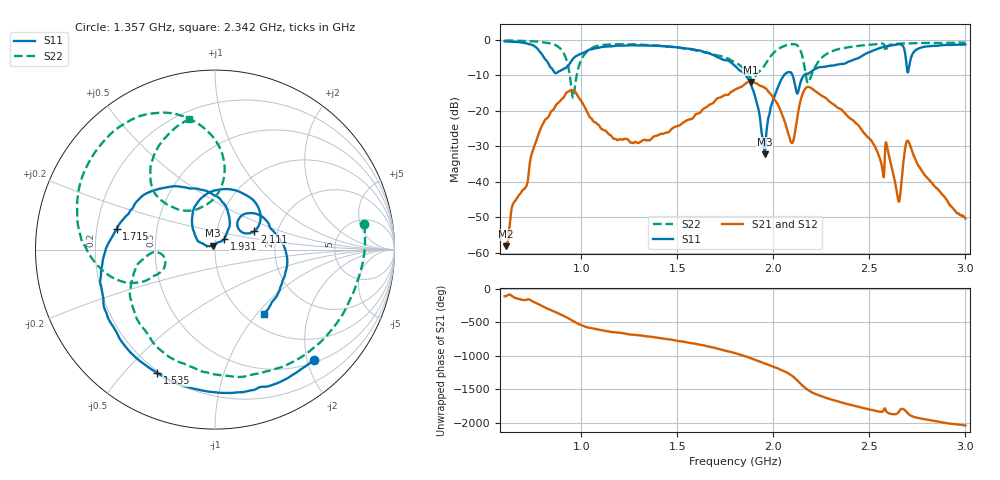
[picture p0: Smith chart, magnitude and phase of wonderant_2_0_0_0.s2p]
#  HZ  S  RI  R  50.00
! Rohde & Schwarz ZVB8 2Ports - Version 2.81 - 1145.1010k08 SN: 100113
! Date: 2016-05-17 22:36:41
! Measurements: S11 S21 S12 S22
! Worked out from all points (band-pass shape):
!   1000 points, 600 MHz to 3 GHz, reference 50 ohm
!   highest |S21| = -11.86 dB at 1.883 GHz (marker M1); lowest = -58.1 dB at 604.8 MHz (marker M2)
!   |S21| within 3 dB of the highest: 1.776 GHz to 1.978 GHz (202.3 MHz wide, 10.8 % of centre); 2.155 GHz to 2.229 GHz (74.26 MHz wide, 3.39 % of centre)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
!   lowest |S11| = -32.2 dB at 1.955 GHz (marker M3), VSWR 1.05, Z = 48.9 + j2.16 ohm
!   |S11| at or under -10 dB: 1.855 GHz to 2.055 GHz (199.8 MHz wide, 10.2 % of centre); 2.1 GHz to 2.159 GHz (59.58 MHz wide, 2.8 % of centre)
!   |S22| runs from -16.3 to -0.2 dB; largest |S21 - S12| = 0.0018
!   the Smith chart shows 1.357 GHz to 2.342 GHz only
!   S11 on the Smith chart (normalised r, x): 1.357 GHz: 0.54, -2.12; 1.535 GHz: 0.19, -0.62; 1.715 GHz: 0.28, +0.10; 1.931 GHz: 1.10, +0.13; 2.111 GHz: 1.52, +0.33; 2.342 GHz: 1.20, -1.09
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6e8  -0.8211 0.4743  -0.000488 -0.00118  -0.000511 -0.00118  -0.9492 0.2279
6.048048e8  -0.806 0.496  -0.000471 -0.00115  -0.000444 -0.00125  -0.943 0.2487
8.306306e8  0.1674 0.4154  0.0496 0.0682  0.0495 0.0683  -0.1788 0.8791
9.171171e8  -0.0158 0.3994  0.092 -0.1455  0.0924 -0.1452  0.4305 0.3737
9.555556e8  -0.0258 0.5372  -0.1022 -0.1627  -0.1018 -0.1629  0.0289 -0.1497
1.001201e9  0.1506 0.6222  -0.1336 0.0181  -0.1336 0.0176  -0.4939 0.2181
1.138138e9  0.7041 0.386  0.00649 0.0475  0.00669 0.0474  0.081 0.852
1.356757e9  0.5523 -0.6171  0.0385 0.00298  0.0385 0.00305  0.8318 0.1409
1.4e9  0.3653 -0.7359  0.044 -0.0109  0.0442 -0.0108  0.817 -0.0985
1.534535e9  -0.3225 -0.6871  0.0187 -0.0667  0.0189 -0.0667  0.381 -0.6509
1.714715e9  -0.5476 0.117  -0.1517 0.00145  -0.1518 0.000988  -0.3918 -0.4479
1.801201e9  -0.2403 0.3521  -0.0895 0.1788  -0.09 0.1781  -0.4552 -0.1428
1.882883e9  0.0673 0.2244  0.1941 0.1658  0.1935 0.1665  -0.2853 -0.0381
1.930931e9  0.0504 0.0575  0.2217 -0.0386  0.2216 -0.0375  -0.3364 -0.144
1.954955e9  -0.0106 0.0221  0.1728 -0.1221  0.1736 -0.1213  -0.4002 -0.1781
2.111111e9  0.2184 0.1014  -0.0135 0.0453  -0.0137 0.0453  -0.4979 0.705
2.2e9  0.354 0.0675  -0.0629 -0.196  -0.0623 -0.1962  -0.2323 0.2352
2.341742e9  0.2713 -0.3608  -0.0414 0.1005  -0.0421 0.1004  -0.1467 0.7251
2.601201e9  -0.5496 -0.6104  0.0113 -0.0211  0.0115 -0.0211  0.6807 0.4814
2.649249e9  -0.7687 -0.389  0.00338 -0.00452  0.00344 -0.00443  0.8162 0.3239
2.702102e9  -0.3277 -0.1374  0.0142 -0.0346  0.0146 -0.0346  0.8781 0.1304
3e9  -0.6508 0.5573  -0.00135 0.00274  -0.00133 0.00274  0.5434 -0.7312
